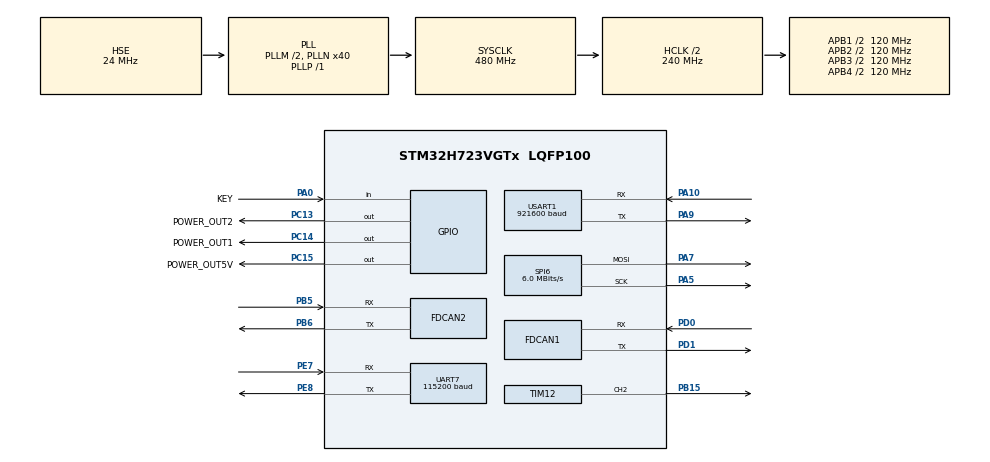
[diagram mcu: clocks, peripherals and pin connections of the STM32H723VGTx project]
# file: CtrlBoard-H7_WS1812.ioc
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Dma.Request0=UART7_RX
Dma.Request1=UART7_TX
Dma.Request2=USART1_RX
Dma.Request3=USART1_TX
Dma.UART7_RX.0.Direction=DMA_PERIPH_TO_MEMORY
Dma.UART7_RX.0.EventEnable=DISABLE
Dma.UART7_RX.0.FIFOMode=DMA_FIFOMODE_DISABLE
Dma.UART7_RX.0.Instance=DMA1_Stream0
Dma.UART7_RX.0.MemDataAlignment=DMA_MDATAALIGN_BYTE
Dma.UART7_RX.0.MemInc=DMA_MINC_ENABLE
Dma.UART7_RX.0.Mode=DMA_NORMAL
Dma.UART7_RX.0.PeriphDataAlignment=DMA_PDATAALIGN_BYTE
Dma.UART7_RX.0.PeriphInc=DMA_PINC_DISABLE
Dma.UART7_RX.0.Polarity=HAL_DMAMUX_REQ_GEN_RISING
Dma.UART7_RX.0.Priority=DMA_PRIORITY_LOW
Dma.UART7_RX.0.RequestNumber=1
Dma.UART7_RX.0.SignalID=NONE
Dma.UART7_RX.0.SyncEnable=DISABLE
Dma.UART7_RX.0.SyncPolarity=HAL_DMAMUX_SYNC_NO_EVENT
Dma.UART7_RX.0.SyncRequestNumber=1
Dma.UART7_RX.0.SyncSignalID=NONE
Dma.UART7_TX.1.Direction=DMA_MEMORY_TO_PERIPH
Dma.UART7_TX.1.EventEnable=DISABLE
Dma.UART7_TX.1.FIFOMode=DMA_FIFOMODE_DISABLE
Dma.UART7_TX.1.Instance=DMA1_Stream1
Dma.UART7_TX.1.MemDataAlignment=DMA_MDATAALIGN_BYTE
Dma.UART7_TX.1.MemInc=DMA_MINC_ENABLE
Dma.UART7_TX.1.Mode=DMA_NORMAL
Dma.UART7_TX.1.PeriphDataAlignment=DMA_PDATAALIGN_BYTE
Dma.UART7_TX.1.PeriphInc=DMA_PINC_DISABLE
Dma.UART7_TX.1.Polarity=HAL_DMAMUX_REQ_GEN_RISING
Dma.UART7_TX.1.Priority=DMA_PRIORITY_LOW
Dma.UART7_TX.1.RequestNumber=1
Dma.UART7_TX.1.SignalID=NONE
Dma.UART7_TX.1.SyncEnable=DISABLE
Dma.UART7_TX.1.SyncPolarity=HAL_DMAMUX_SYNC_NO_EVENT
Dma.UART7_TX.1.SyncRequestNumber=1
Dma.UART7_TX.1.SyncSignalID=NONE
Dma.USART1_RX.2.Direction=DMA_PERIPH_TO_MEMORY
Dma.USART1_RX.2.EventEnable=DISABLE
Dma.USART1_RX.2.FIFOMode=DMA_FIFOMODE_DISABLE
Dma.USART1_RX.2.Instance=DMA1_Stream2
Dma.USART1_RX.2.MemDataAlignment=DMA_MDATAALIGN_BYTE
Dma.USART1_RX.2.MemInc=DMA_MINC_ENABLE
Dma.USART1_RX.2.Mode=DMA_NORMAL
Dma.USART1_RX.2.PeriphDataAlignment=DMA_PDATAALIGN_BYTE
Dma.USART1_RX.2.PeriphInc=DMA_PINC_DISABLE
Dma.USART1_RX.2.Polarity=HAL_DMAMUX_REQ_GEN_RISING
Dma.USART1_RX.2.Priority=DMA_PRIORITY_LOW
Dma.USART1_RX.2.RequestNumber=1
Dma.USART1_RX.2.SignalID=NONE
Dma.USART1_RX.2.SyncEnable=DISABLE
Dma.USART1_RX.2.SyncPolarity=HAL_DMAMUX_SYNC_NO_EVENT
Dma.USART1_RX.2.SyncRequestNumber=1
Dma.USART1_RX.2.SyncSignalID=NONE
Dma.USART1_TX.3.Direction=DMA_MEMORY_TO_PERIPH
Dma.USART1_TX.3.EventEnable=DISABLE
Dma.USART1_TX.3.FIFOMode=DMA_FIFOMODE_DISABLE
Dma.USART1_TX.3.Instance=DMA1_Stream3
Dma.USART1_TX.3.MemDataAlignment=DMA_MDATAALIGN_BYTE
Dma.USART1_TX.3.MemInc=DMA_MINC_ENABLE
Dma.USART1_TX.3.Mode=DMA_NORMAL
Dma.USART1_TX.3.PeriphDataAlignment=DMA_PDATAALIGN_BYTE
Dma.USART1_TX.3.PeriphInc=DMA_PINC_DISABLE
Dma.USART1_TX.3.Polarity=HAL_DMAMUX_REQ_GEN_RISING
Dma.USART1_TX.3.Priority=DMA_PRIORITY_LOW
Dma.USART1_TX.3.RequestNumber=1
Dma.USART1_TX.3.SignalID=NONE
Dma.USART1_TX.3.SyncEnable=DISABLE
Dma.USART1_TX.3.SyncPolarity=HAL_DMAMUX_SYNC_NO_EVENT
Dma.USART1_TX.3.SyncRequestNumber=1
Dma.USART1_TX.3.SyncSignalID=NONE
FDCAN1.AutoRetransmission=ENABLE
FDCAN1.CalculateBaudRateNominal=1000000
FDCAN1.CalculateTimeBitNominal=1000
FDCAN1.CalculateTimeQuantumNominal=12.5
FDCAN1.DataSyncJumpWidth=2
FDCAN1.DataTimeSeg1=13
FDCAN1.DataTimeSeg2=2
FDCAN1.ExtFiltersNbr=4
FDCAN1.FrameFormat=FDCAN_FRAME_CLASSIC
FDCAN1.NominalPrescaler=1
FDCAN1.NominalSyncJumpWidth=20
FDCAN1.NominalTimeSeg1=59
FDCAN1.NominalTimeSeg2=20
FDCAN1.ProtocolException=ENABLE
FDCAN1.RxBuffersNbr=2
FDCAN1.RxFifo0ElmtsNbr=32
FDCAN1.RxFifo1ElmtsNbr=8
FDCAN1.StdFiltersNbr=4
FDCAN1.TxBuffersNbr=8
FDCAN1.TxEventsNbr=8
FDCAN1.TxFifoQueueElmtsNbr=32
FDCAN2.AutoRetransmission=ENABLE
FDCAN2.CalculateBaudRateNominal=1000000
FDCAN2.CalculateTimeBitNominal=1000
FDCAN2.CalculateTimeQuantumNominal=12.5
FDCAN2.DataPrescaler=1
FDCAN2.DataSyncJumpWidth=2
FDCAN2.DataTimeSeg1=13
FDCAN2.DataTimeSeg2=2
FDCAN2.ExtFiltersNbr=4
FDCAN2.MessageRAMOffset=0x406
FDCAN2.Mode=FDCAN_MODE_NORMAL
FDCAN2.NominalPrescaler=1
FDCAN2.NominalSyncJumpWidth=20
FDCAN2.NominalTimeSeg1=59
FDCAN2.NominalTimeSeg2=20
FDCAN2.ProtocolException=ENABLE
FDCAN2.RxBuffersNbr=3
FDCAN2.RxFifo0ElmtsNbr=8
FDCAN2.RxFifo1ElmtsNbr=8
FDCAN2.StdFiltersNbr=4
FDCAN2.TxBuffersNbr=8
FDCAN2.TxElmtSize=FDCAN_DATA_BYTES_8
FDCAN2.TxEventsNbr=8
FDCAN2.TxFifoQueueElmtsNbr=8
FREERTOS.INCLUDE_vTaskDelayUntil=1
FREERTOS.Tasks01=LED_Task,0,128,LedTask,Default,NULL,Dynamic,NULL,NULL;SERVO_TASK,2,1024,Servo_TASK,Default,NULL,Dynamic,NULL,NULL;ROBOT_TASK,2,1024,Robot_TASK,Default,NULL,Dynamic,NULL,NULL;MAPDATASEND_TAS,0,128,MapDataSend_task,Default,NULL,Dynamic,NULL,NULL
FREERTOS.configENABLE_FPU=1
Mcu.Family=STM32H7
Mcu.Name=STM32H723VGTx
Mcu.Package=LQFP100
NVIC.DMA1_Stream0_IRQn=true\:5\:0\:false\:false\:true\:true\:false\:true\:true
NVIC.DMA1_Stream1_IRQn=true\:5\:0\:false\:false\:true\:true\:false\:true\:true
NVIC.DMA1_Stream2_IRQn=true\:5\:0\:false\:false\:true\:true\:false\:true\:true
NVIC.DMA1_Stream3_IRQn=true\:5\:0\:false\:false\:true\:true\:false\:true\:true
NVIC.FDCAN1_IT0_IRQn=true\:5\:0\:true\:false\:true\:true\:true\:true\:true
NVIC.FDCAN1_IT1_IRQn=true\:5\:0\:false\:false\:true\:true\:true\:true\:true
NVIC.FDCAN2_IT0_IRQn=true\:5\:0\:false\:false\:true\:true\:true\:true\:true
NVIC.FDCAN2_IT1_IRQn=true\:5\:0\:false\:false\:true\:true\:true\:true\:true
NVIC.PriorityGroup=NVIC_PRIORITYGROUP_4
NVIC.TIM23_IRQn=true\:15\:0\:false\:false\:true\:false\:false\:true\:true
NVIC.TIM6_DAC_IRQn=true\:5\:0\:false\:false\:true\:true\:true\:true\:true
NVIC.TimeBase=TIM23_IRQn
NVIC.TimeBaseIP=TIM23
NVIC.UART7_IRQn=true\:5\:0\:false\:false\:true\:true\:true\:true\:true
NVIC.USART1_IRQn=true\:5\:0\:false\:false\:true\:true\:true\:true\:true
PA0.GPIO_Label=KEY
PA0.GPIO_PuPd=GPIO_PULLUP
PA0.Signal=GPIO_Input
PA10.Mode=Asynchronous
PA10.Signal=USART1_RX
PA13(JTMS/SWDIO).Mode=Serial_Wire
PA13(JTMS/SWDIO).Signal=DEBUG_JTMS-SWDIO
PA14(JTCK/SWCLK).Mode=Serial_Wire
PA14(JTCK/SWCLK).Signal=DEBUG_JTCK-SWCLK
PA5.GPIO_Speed=GPIO_SPEED_FREQ_VERY_HIGH
PA5.Mode=TX_Only_Simplex_Unidirect_Master
PA5.Signal=SPI6_SCK
PA7.GPIO_Speed=GPIO_SPEED_FREQ_VERY_HIGH
PA7.Mode=TX_Only_Simplex_Unidirect_Master
PA7.Signal=SPI6_MOSI
PA9.Mode=Asynchronous
PA9.Signal=USART1_TX
PB15.Signal=S_TIM12_CH2
PB5.Mode=FDCAN_Activate
PB5.Signal=FDCAN2_RX
PB6.Mode=FDCAN_Activate
PB6.Signal=FDCAN2_TX
PC13.GPIO_Label=POWER_OUT2
PC13.PinState=GPIO_PIN_SET
PC13.Signal=GPIO_Output
PC14-OSC32_IN.GPIO_Label=POWER_OUT1
PC14-OSC32_IN.PinState=GPIO_PIN_SET
PC14-OSC32_IN.Signal=GPIO_Output
PC15-OSC32_OUT.GPIO_Label=POWER_OUT5V
PC15-OSC32_OUT.PinState=GPIO_PIN_SET
PC15-OSC32_OUT.Signal=GPIO_Output
PD0.Mode=FDCAN_Activate
PD0.Signal=FDCAN1_RX
PD1.Mode=FDCAN_Activate
PD1.Signal=FDCAN1_TX
PE7.Mode=Asynchronous
PE7.Signal=UART7_RX
PE8.Mode=Asynchronous
PE8.Signal=UART7_TX
PH0-OSC_IN.Mode=HSE-External-Oscillator
PH0-OSC_IN.Signal=RCC_OSC_IN
PH1-OSC_OUT.Mode=HSE-External-Oscillator
PH1-OSC_OUT.Signal=RCC_OSC_OUT
ProjectManager.HeapSize=0x200
ProjectManager.StackSize=0x800
ProjectManager.TargetToolchain=CMake
RCC.ADCFreq_Value=48375000
RCC.APB1Freq_Value=120000000
RCC.APB2Freq_Value=120000000
RCC.APB3Freq_Value=120000000
RCC.APB4Freq_Value=120000000
RCC.CortexFreq_Value=480000000
RCC.D1PPRE=RCC_APB3_DIV2
RCC.D2PPRE1=RCC_APB1_DIV2
RCC.D2PPRE2=RCC_APB2_DIV2
RCC.D3PPRE=RCC_APB4_DIV2
RCC.DIVM1=2
RCC.DIVN1=40
RCC.DIVP1=1
RCC.DIVQ1=6
RCC.HCLKFreq_Value=240000000
RCC.HPRE=RCC_HCLK_DIV2
RCC.HSE_VALUE=24000000
RCC.PLLFRACN=0
RCC.PLLSourceVirtual=RCC_PLLSOURCE_HSE
RCC.SPI6CLockSelection=RCC_SPI6CLKSOURCE_HSE
RCC.SYSCLKFreq_VALUE=480000000
RCC.SYSCLKSource=RCC_SYSCLKSOURCE_PLLCLK
RCC.USBFreq_Value=80000000
SH.S_TIM12_CH2.0=TIM12_CH2,PWM Generation2 CH2
SPI6.BaudRatePrescaler=SPI_BAUDRATEPRESCALER_4
SPI6.CLKPhase=SPI_PHASE_2EDGE
SPI6.CLKPolarity=SPI_POLARITY_LOW
SPI6.CalculateBaudRate=6.0 MBits/s
SPI6.DataSize=SPI_DATASIZE_8BIT
SPI6.Direction=SPI_DIRECTION_2LINES_TXONLY
SPI6.Mode=SPI_MODE_MASTER
SPI6.VirtualType=VM_MASTER
TIM12.Channel-PWM\ Generation2\ CH2=TIM_CHANNEL_2
TIM12.Period=2000-1
TIM12.Prescaler=240-1
TIM6.Period=1000
TIM6.Prescaler=240
UART7.BaudRate=115200
USART1.BaudRate=921600
USART1.VirtualMode-Asynchronous=VM_ASYNC
VP_FREERTOS_VS_CMSIS_V1.Mode=CMSIS_V1
VP_SYS_VS_tim23.Mode=TIM23
VP_TIM6_VS_ClockSourceINT.Mode=Enable_Timer
board=custom

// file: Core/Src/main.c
/* USER CODE BEGIN Header */
/**
  ******************************************************************************
  * @file           : main.c
  * @brief          : Main program body
  ******************************************************************************
  * @attention
  *
  * Copyright (c) 2024 STMicroelectronics.
  * All rights reserved.
  *
  * This software is licensed under terms that can be found in the LICENSE file
  * in the root directory of this software component.
  * If no LICENSE file comes with this software, it is provided AS-IS.
  *
  ******************************************************************************
  */
/* USER CODE END Header */
#include "main.h"
#include "cmsis_os.h"
#include "dma.h"
#include "fdcan.h"
#include "spi.h"
#include "tim.h"
#include "usart.h"
#include "gpio.h"

/* USER CODE BEGIN Includes */
#include "string.h"
#include "ws2812.h"
#include "servo_mapping.h"
#include "ZDT_X42_V2.h"
#include "safewarning.h"
#include "userkey.h"
/* USER CODE END Includes */

/* USER CODE BEGIN PD */
#define DEBUG 0		//调试模式
/* USER CODE END PD */

/* USER CODE BEGIN PV */
uint8_t uart7_rebuffer[10];
uint8_t miro_uart7_rebuffer[10];
uint8_t uart1_rebuffer[10];

uint8_t can2send_test[8] = {0xff,0xff,0xff,0xff,0xff,0xff,0x00,0xfd};

uint16_t tim6_tick = 0;
uint16_t datapack_ordorcount = 0;
/* USER CODE END PV */

void SystemClock_Config(void);
void MX_FREERTOS_Init(void);

int main(void)
{

  /* MCU Configuration--------------------------------------------------------*/

  /* Reset of all peripherals, Initializes the Flash interface and the Systick. */
  HAL_Init();

  /* Configure the system clock */
  SystemClock_Config();

  /* Initialize all configured peripherals */
  MX_GPIO_Init();
  MX_DMA_Init();
  MX_SPI6_Init();
  MX_USART1_UART_Init();
  MX_UART7_Init();
  MX_FDCAN1_Init();
  MX_TIM6_Init();
  MX_FDCAN2_Init();
  MX_TIM12_Init();
  /* USER CODE BEGIN 2 */
//  	Servo_Mapping_Init();
	bsp_can_init();
	Beep_Init();
	HAL_UARTEx_ReceiveToIdle_DMA(&huart7, uart7_rebuffer, sizeof(uart7_rebuffer)*2);
	HAL_UARTEx_ReceiveToIdle_DMA(&huart1, uart1_rebuffer, sizeof(uart1_rebuffer)*2);

//	__HAL_UART_ENABLE_IT(&huart7,UART_IT_IDLE);
	HAL_Delay (1000);
	HAL_TIM_Base_Start_IT(&htim6);
	// 播放开机提示音

    Beep_Play(BEEP_POWER_ON);
	/*CAN独立指令发送*/
	#if DEBUG
//	Motor_MIT_MODE(&hfdcan2, 0x02);
//	fdcanx_send_data(&hfdcan2, 0x02,can2send_test, 8);
	#endif
  /* USER CODE END 2 */

  /* Call init function for freertos objects (in freertos.c) */
  MX_FREERTOS_Init();

  /* Start scheduler */
  osKernelStart();

  /* We should never get here as control is now taken by the scheduler */
  /* Infinite loop */
  while (1)
  {

  }
}

void SystemClock_Config(void)
{
  RCC_OscInitTypeDef RCC_OscInitStruct = {0};
  RCC_ClkInitTypeDef RCC_ClkInitStruct = {0};

  /** Supply configuration update enable
  */
  HAL_PWREx_ConfigSupply(PWR_LDO_SUPPLY);

  /** Configure the main internal regulator output voltage
  */
  __HAL_PWR_VOLTAGESCALING_CONFIG(PWR_REGULATOR_VOLTAGE_SCALE0);

  while(!__HAL_PWR_GET_FLAG(PWR_FLAG_VOSRDY)) {}

  /** Initializes the RCC Oscillators according to the specified parameters
  * in the RCC_OscInitTypeDef structure.
  */
  RCC_OscInitStruct.OscillatorType = RCC_OSCILLATORTYPE_HSE;
  RCC_OscInitStruct.HSEState = RCC_HSE_ON;
  RCC_OscInitStruct.PLL.PLLState = RCC_PLL_ON;
  RCC_OscInitStruct.PLL.PLLSource = RCC_PLLSOURCE_HSE;
  RCC_OscInitStruct.PLL.PLLM = 2;
  RCC_OscInitStruct.PLL.PLLN = 40;
  RCC_OscInitStruct.PLL.PLLP = 1;
  RCC_OscInitStruct.PLL.PLLQ = 6;
  RCC_OscInitStruct.PLL.PLLR = 2;
  RCC_OscInitStruct.PLL.PLLRGE = RCC_PLL1VCIRANGE_3;
  RCC_OscInitStruct.PLL.PLLVCOSEL = RCC_PLL1VCOWIDE;
  RCC_OscInitStruct.PLL.PLLFRACN = 0;
  if (HAL_RCC_OscConfig(&RCC_OscInitStruct) != HAL_OK)
  {
    Error_Handler();
  }

  /** Initializes the CPU, AHB and APB buses clocks
  */
  RCC_ClkInitStruct.ClockType = RCC_CLOCKTYPE_HCLK|RCC_CLOCKTYPE_SYSCLK
                              |RCC_CLOCKTYPE_PCLK1|RCC_CLOCKTYPE_PCLK2
                              |RCC_CLOCKTYPE_D3PCLK1|RCC_CLOCKTYPE_D1PCLK1;
  RCC_ClkInitStruct.SYSCLKSource = RCC_SYSCLKSOURCE_PLLCLK;
  RCC_ClkInitStruct.SYSCLKDivider = RCC_SYSCLK_DIV1;
  RCC_ClkInitStruct.AHBCLKDivider = RCC_HCLK_DIV2;
  RCC_ClkInitStruct.APB3CLKDivider = RCC_APB3_DIV2;
  RCC_ClkInitStruct.APB1CLKDivider = RCC_APB1_DIV2;
  RCC_ClkInitStruct.APB2CLKDivider = RCC_APB2_DIV2;
  RCC_ClkInitStruct.APB4CLKDivider = RCC_APB4_DIV2;

  if (HAL_RCC_ClockConfig(&RCC_ClkInitStruct, FLASH_LATENCY_3) != HAL_OK)
  {
    Error_Handler();
  }
}

/* USER CODE BEGIN 4 */
void HAL_UARTEx_RxEventCallback(UART_HandleTypeDef * huart, uint16_t Size)
{
	if(huart->Instance == UART7){
		if (Size <= SERVO_RX_BUF_NUM)
		{
			if(uart7_rebuffer[0] == 0x55 && uart7_rebuffer[1] == 0x55 && uart7_rebuffer[3] == 0x05 && uart7_rebuffer[4] == SERVO_POS_READ)	//
				{
					uint8_t id = uart7_rebuffer[2];		//
					int16_t position = (int16_t)((uart7_rebuffer[6] << 8) | uart7_rebuffer[5]);		//

					Servos[id].cnt = 0;		//
					Servos[id].id = id;		//
					Servos[id].angle = position;	//
				}
			HAL_UARTEx_ReceiveToIdle_DMA(&huart7, uart7_rebuffer, sizeof(uart7_rebuffer)*2); //
			for(uint8_t i =0;i<10;i++){
				miro_uart7_rebuffer[i] = uart7_rebuffer[i];}
//			memset(uart7_rebuffer, 0, sizeof(uart7_rebuffer));		//
		}
		TaskFrequencycount(GETTASK);
	}
	if(huart->Instance == USART1){

	}
}

void HAL_UART_ErrorCallback(UART_HandleTypeDef * huart)
{
	if(huart->Instance == UART7)
	{
		HAL_UARTEx_ReceiveToIdle_DMA(&huart7, uart7_rebuffer, sizeof(uart7_rebuffer)); //
		memset(uart7_rebuffer, 0, sizeof(uart7_rebuffer));							   //
	}
	if(huart->Instance == USART1)
	{
		HAL_UARTEx_ReceiveToIdle_DMA(&huart1, uart1_rebuffer, sizeof(uart1_rebuffer)); //
		memset(uart1_rebuffer, 0, sizeof(uart1_rebuffer));							   //
	}
}
/* USER CODE END 4 */

void HAL_TIM_PeriodElapsedCallback(TIM_HandleTypeDef *htim)
{
  /* USER CODE BEGIN Callback 0 */
	if (htim->Instance == TIM6) {
	TaskFrequencyCheck(GETTASK);
	TaskFrequencyCheck(SENDTASK);
		tim6_tick ++;
		if(tim6_tick>= 999)
		{
			datapack_ordorcount = 0;
			tim6_tick = 0;
		}
	Key_Tick();

	Beep_Task();
  }
  /* USER CODE END Callback 0 */
  if (htim->Instance == TIM23) {
    HAL_IncTick();
  }
}

void Error_Handler(void)
{
  __disable_irq();
  while (1)
  {
  }
}

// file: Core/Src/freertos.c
/* USER CODE BEGIN Header */
/**
  ******************************************************************************
  * File Name          : freertos.c
  * Description        : Code for freertos applications
  ******************************************************************************
  * @attention
  *
  * Copyright (c) 2025 STMicroelectronics.
  * All rights reserved.
  *
  * This software is licensed under terms that can be found in the LICENSE file
  * in the root directory of this software component.
  * If no LICENSE file comes with this software, it is provided AS-IS.
  *
  ******************************************************************************
  */
/* USER CODE END Header */

#include "FreeRTOS.h"
#include "task.h"
#include "main.h"
#include "cmsis_os.h"

/* USER CODE BEGIN Includes */
#include "safewarning.h"
#include "servo_mapping.h"
#include "bsp_fdcan.h"
#include "userkey.h"
/* USER CODE END Includes */

osThreadId LED_TaskHandle;
osThreadId SERVO_TASKHandle;
osThreadId ROBOT_TASKHandle;
osThreadId MAPDATASEND_TASHandle;

void LedTask(void const * argument);
void Servo_TASK(void const * argument);
void Robot_TASK(void const * argument);
void MapDataSend_task(void const * argument);

void MX_FREERTOS_Init(void); /* (MISRA C 2004 rule 8.1) */

/* GetIdleTaskMemory prototype (linked to static allocation support) */
void vApplicationGetIdleTaskMemory( StaticTask_t **ppxIdleTaskTCBBuffer, StackType_t **ppxIdleTaskStackBuffer, uint32_t *pulIdleTaskStackSize );

/* USER CODE BEGIN GET_IDLE_TASK_MEMORY */
static StaticTask_t xIdleTaskTCBBuffer;
static StackType_t xIdleStack[configMINIMAL_STACK_SIZE];

void vApplicationGetIdleTaskMemory( StaticTask_t **ppxIdleTaskTCBBuffer, StackType_t **ppxIdleTaskStackBuffer, uint32_t *pulIdleTaskStackSize )
{
  *ppxIdleTaskTCBBuffer = &xIdleTaskTCBBuffer;
  *ppxIdleTaskStackBuffer = &xIdleStack[0];
  *pulIdleTaskStackSize = configMINIMAL_STACK_SIZE;
  /* place for user code */
}
/* USER CODE END GET_IDLE_TASK_MEMORY */

void MX_FREERTOS_Init(void) {

  /* Create the thread(s) */
  /* definition and creation of LED_Task */
  osThreadDef(LED_Task, LedTask, osPriorityNormal, 0, 128);
  LED_TaskHandle = osThreadCreate(osThread(LED_Task), NULL);

  /* definition and creation of SERVO_TASK */
  osThreadDef(SERVO_TASK, Servo_TASK, osPriorityHigh, 0, 1024);
  SERVO_TASKHandle = osThreadCreate(osThread(SERVO_TASK), NULL);

  /* definition and creation of ROBOT_TASK */
  osThreadDef(ROBOT_TASK, Robot_TASK, osPriorityHigh, 0, 1024);
  ROBOT_TASKHandle = osThreadCreate(osThread(ROBOT_TASK), NULL);

  /* definition and creation of MAPDATASEND_TAS */
  osThreadDef(MAPDATASEND_TAS, MapDataSend_task, osPriorityNormal, 0, 128);
  MAPDATASEND_TASHandle = osThreadCreate(osThread(MAPDATASEND_TAS), NULL);

}

void LedTask(void const * argument)
{
  /* USER CODE BEGIN LedTask */
  /* Infinite loop */
  for(;;)
  {
	ws2812_task();
	Key_Beep_Handler();
    osDelay(1);

  }
  /* USER CODE END LedTask */
}

void Servo_TASK(void const * argument)
{
  /* USER CODE BEGIN Servo_TASK */
  /* Infinite loop */
  for(;;)
  {

	Servo_Task();
	TaskFrequencycount(GETTASK);
	osDelay(3);

  }
  /* USER CODE END Servo_TASK */
}

void Robot_TASK(void const * argument)
{
  /* USER CODE BEGIN Robot_TASK */
	motor_mapping_init();
	static TickType_t xLastWakeTime = 0;
    const TickType_t xPeriod = pdMS_TO_TICKS(ROBOT_TASK_PERIOD_MS);  // ÿ 10ms ִ��һ�Σ�100Hz

  /* Infinite loop */
  for(;;)
  {

	Robot_Task();
	TaskFrequencycount(SENDTASK);
    // ��֤���������ȶ�
    vTaskDelayUntil(&xLastWakeTime, xPeriod);

  }
  /* USER CODE END Robot_TASK */
}

void MapDataSend_task(void const * argument)
{
  /* USER CODE BEGIN MapDataSend_task */
  /* Infinite loop */
  for(;;)
  {
	CustomController_StructSend(&MoterMap);
    osDelay(35);
  }
  /* USER CODE END MapDataSend_task */
}
